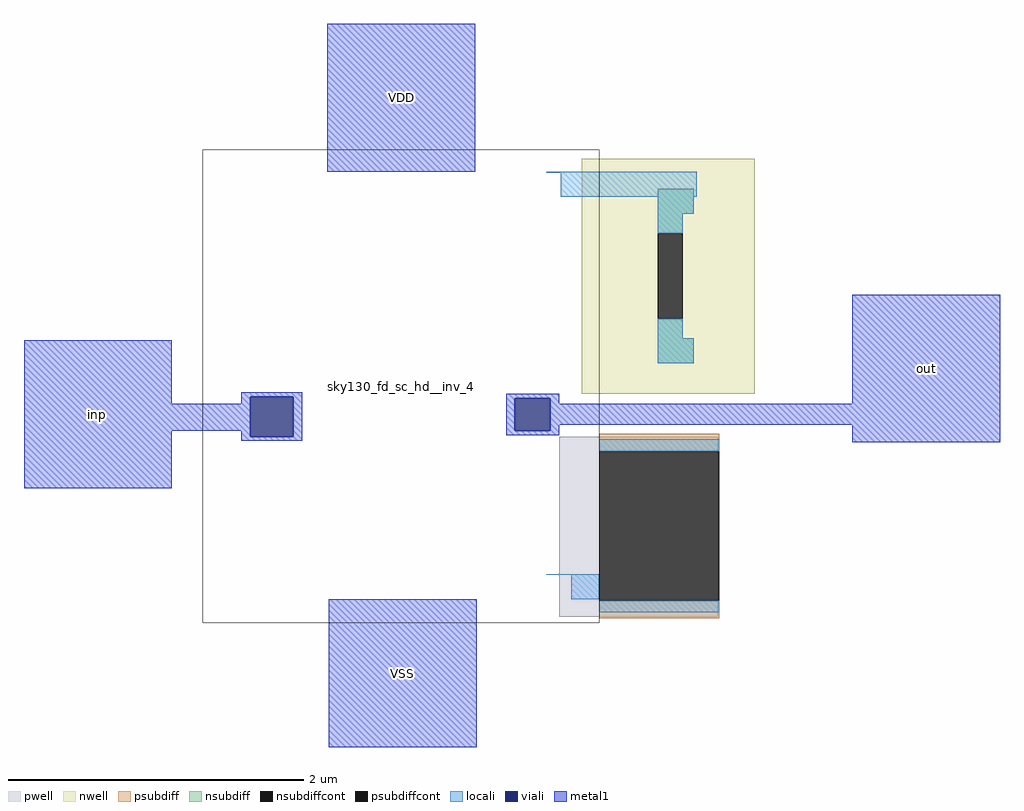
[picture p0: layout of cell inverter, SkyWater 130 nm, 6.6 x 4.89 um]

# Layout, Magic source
magic
tech sky130A
magscale 1 2
<< nwell >>
rect 474 862 708 1180
<< pwell >>
rect 444 560 658 804
<< psubdiff >>
rect 498 784 660 808
rect 498 558 660 582
<< nsubdiff >>
rect 577 1105 626 1139
rect 577 1079 611 1105
rect 577 937 611 963
rect 577 903 626 937
<< psubdiffcont >>
rect 498 582 660 784
<< nsubdiffcont >>
rect 577 963 611 1079
<< locali >>
rect 426 1161 630 1162
rect 460 1160 630 1161
rect 446 1128 630 1160
rect 577 1105 626 1128
rect 577 1079 611 1105
rect 577 937 611 963
rect 577 903 626 937
rect 498 784 660 800
rect 426 617 498 618
rect 460 584 498 617
rect 498 566 660 582
<< viali >>
rect 26 804 84 858
rect 384 812 432 856
<< metal1 >>
rect 130 1162 330 1362
rect -280 848 -80 934
rect 14 858 96 864
rect 14 848 26 858
rect -280 812 26 848
rect -280 734 -80 812
rect 14 804 26 812
rect 84 804 96 858
rect 372 856 444 862
rect 372 812 384 856
rect 432 848 444 856
rect 840 848 1040 996
rect 432 820 1040 848
rect 432 812 444 820
rect 372 806 444 812
rect 14 798 96 804
rect 840 796 1040 820
rect 132 384 332 584
use sky130_fd_sc_hd__inv_4  x4 $PDKPATH/libs.ref/sky130_fd_sc_hd/mag
transform 1 0 0 0 1 600
box -38 -48 498 592
<< labels >>
flabel metal1 -280 734 -80 934 0 FreeSans 256 0 0 0 inp
port 0 nsew
flabel metal1 840 796 1040 996 0 FreeSans 256 0 0 0 out
port 1 nsew
flabel metal1 130 1162 330 1362 0 FreeSans 256 0 0 0 VDD
port 2 nsew
flabel metal1 132 384 332 584 0 FreeSans 256 0 0 0 VSS
port 3 nsew
<< end >>
